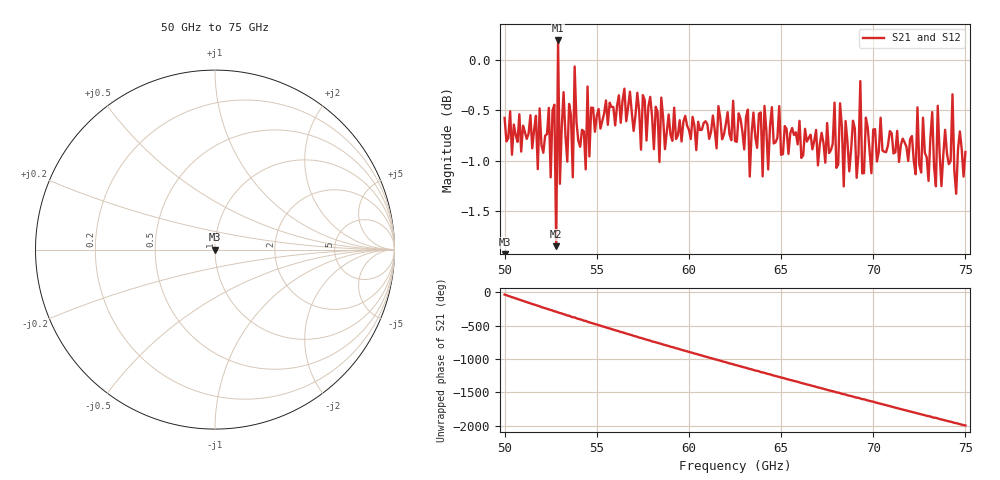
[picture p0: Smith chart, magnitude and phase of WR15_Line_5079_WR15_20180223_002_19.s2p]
# GHZ S RI R 50
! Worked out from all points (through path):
!   251 points, 50 GHz to 75 GHz, reference 50 ohm
!   highest |S21| = 0.19 dB at 52.9 GHz (marker M1); lowest = -1.8 dB at 52.8 GHz (marker M2)
!   lowest |S11| = - dB at 50 GHz (marker M3), VSWR 1.00, Z = 50 + j2.63e-15 ohm
!   |S11| at or under -10 dB: start of sweep to end of sweep
!   |S22| runs from - to - dB; largest |S21 - S12| = 2.2e-15
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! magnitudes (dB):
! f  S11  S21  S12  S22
! 50 GHz  -  -0.6  -0.6  -
! 51.8 GHz  -  -1.1  -1.1  -
! 52.4 GHz  -  -0.5  -0.5  -
! 52.5 GHz  -  -1.2  -1.2  -
! 52.7 GHz  -  -0.4  -0.4  -
! 52.8 GHz  -  -1.8  -1.8  -
! 52.9 GHz  -  0.2  0.2  -
! 53 GHz  -  -1.2  -1.2  -
! 53.2 GHz  -  -0.3  -0.3  -
! 53.7 GHz  -  -1.2  -1.2  -
! 53.8 GHz  -  -0.1  -0.1  -
! 54.2 GHz  -  -0.7  -0.7  -
! 57.9 GHz  -  -0.4  -0.4  -
! 58.4 GHz  -  -1.0  -1.0  -
! 58.5 GHz  -  -0.4  -0.4  -
! 62.5 GHz  -  -0.8  -0.8  -
! 66.7 GHz  -  -0.9  -0.9  -
! 69.1 GHz  -  -1.2  -1.2  -
! 69.3 GHz  -  -0.2  -0.2  -
! 69.4 GHz  -  -1.1  -1.1  -
! 70.9 GHz  -  -0.7  -0.7  -
! 75 GHz  -  -0.9  -0.9  -
